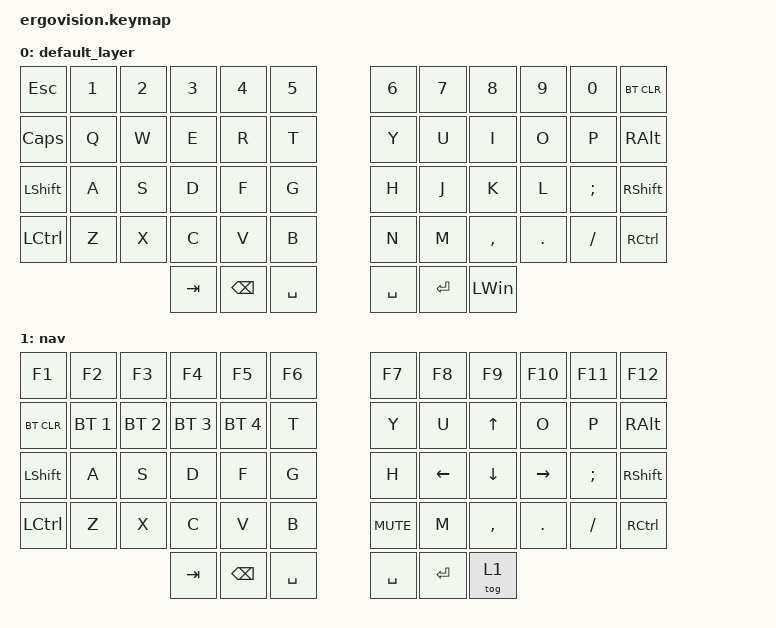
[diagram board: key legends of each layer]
/*
 * Copyright (c) 2020 ZMK Contributors
 *
 * SPDX-License-Identifier: MIT
 */

#include <behaviors.dtsi>
#include <dt-bindings/zmk/keys.h>
#include <dt-bindings/zmk/bt.h>
#include <behaviors/mouse_move.dtsi>
#include <dt-bindings/zmk/mouse.h>
#include <dt-bindings/zmk/outputs.h>
#include <behaviors/mouse_keys.dtsi>


#define DEF 0;
#define NAV 1;
#define MSK 2;
/ {
    keymap {
        compatible = "zmk,keymap";

        default_layer {
            bindings = <
                &kp ESC      &kp N1     &kp N2     &kp N3     &kp N4     &kp N5                   &kp N6     &kp N7     &kp N8     &kp N9     &kp N0     &bt BT_CLR
                &kp CAPSLOCK &kp Q      &kp W      &kp E      &kp R      &kp T                    &kp Y      &kp U      &kp I      &kp O      &kp P      &kp RALT
                &kp LSHIFT   &kp A      &kp S      &kp D      &kp F      &kp G                    &kp H      &kp J      &kp K      &kp L      &kp SEMI   &kp RSHIFT
                &kp LCTRL    &kp Z      &kp X      &kp C      &kp V      &kp B                    &kp N      &kp M      &kp COMMA  &kp DOT    &kp SLASH  &kp RCTRL
                                                   &kp TAB    &kp BSPC   &kp SPACE                &kp SPACE   &kp ENTER &kp LEFT_WIN
            >;
        };
        nav {
            bindings = < 
                &kp F1     &kp F2       &kp F3     &kp F4     &kp F5    &kp F6                    &kp F7     &kp F8     &kp F9     &kp F10    &kp F11    &kp F12
                &bt BT_CLR &bt BT_SEL 1 &bt BT_SEL 2 &bt BT_SEL 3 &bt BT_SEL 4 &kp T              &kp Y      &kp U      &kp UP     &kp O      &kp P      &kp RALT
                &kp LSHIFT &kp A        &kp S      &kp D     &kp F      &kp G                     &kp H      &kp LEFT   &kp DOWN   &kp RIGHT  &kp SEMI   &kp RSHIFT
                &kp LCTRL  &kp Z        &kp X      &kp C     &kp V      &kp B                     &kp K_MUTE &kp M      &kp COMMA  &kp DOT    &kp SLASH  &kp RCTRL
                                                   &kp TAB   &kp BSPC   &kp SPACE                 &kp SPACE  &kp ENTER  &tog 1
            >;
        };
    
    };


};

